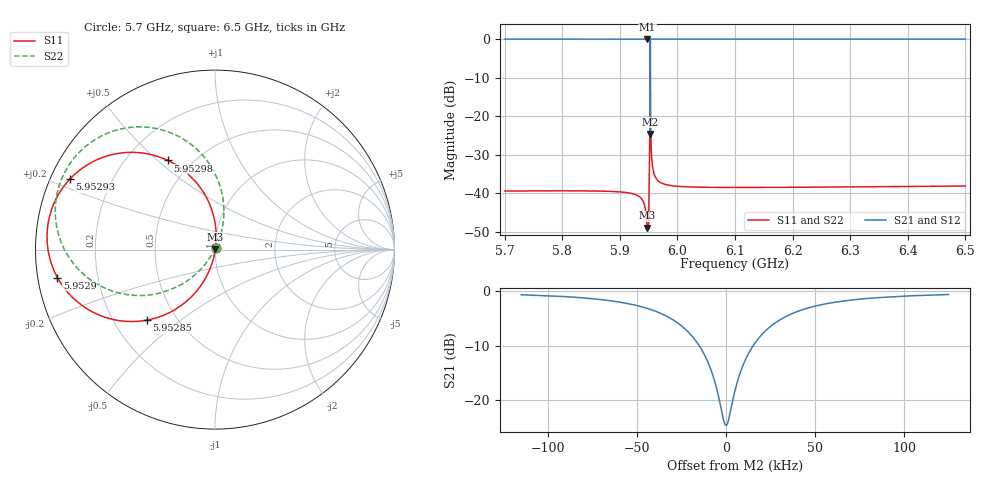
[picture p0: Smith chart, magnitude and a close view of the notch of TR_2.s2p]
! Sonnet Data File
! From: em Version : 14.52
! From Project: TR_2
! Data is De-embedded
! Data File Written: 01/08/2019 22:37:16
!< HDATE 01/08/2019 00:51:22
!< MDATE 01/08/2019 20:33:59
# GHZ S MA R 50.00000
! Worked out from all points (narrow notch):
!   1044 points, 5.7 GHz to 6.5 GHz, reference 50 ohm
!   highest |S21| = 0.00 dB at 5.9475 GHz (marker M1); lowest = -24.6 dB at 5.95291 GHz (marker M2)
!   notch at M2: 24.6 dB deep, 22.4 kHz wide at half that depth
!   lowest |S11| = -48.9 dB at 5.9475 GHz (marker M3), VSWR 1.01, Z = 50.2 + j0.292 ohm
!   |S11| at or under -10 dB: start of sweep to 5.95279 GHz; 5.95305 GHz to end of sweep
!   |S22| runs from -48.9 to -0.5 dB; largest |S21 - S12| = 0
!   S11 on the Smith chart (normalised r, x): 5.7 GHz: 1.01, +0.02; 5.95285 GHz: 0.34, -0.38; 5.9529 GHz: 0.06, -0.09; 5.95293 GHz: 0.06, +0.23; 5.95298 GHz: 0.37, +0.54; 6.5 GHz: 1.01, +0.02
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5.7  0.01069 74.2  0.9999 -16.4  0.9999 -16.4  0.01069 73.0
!< P1 F=5.7 Eeff=(5.67073457 -5.1701e-6) Z0=(51.6851264 2.35637e-5) R=0.01127159 C=0.00226057
!< P2 F=5.7 Eeff=(5.67073457 -5.1701e-6) Z0=(51.6851264 2.35637e-5) R=0.01127159 C=0.00226057
5.835  0.01074 73.7  0.9999 -16.8  0.9999 -16.8  0.01074 72.7
5.9225  0.009862 72.5  1 -17.1  1 -17.1  0.009862 73.3
5.9475  0.003581 54.3  1 -17.5  1 -17.5  0.003584 90.8
5.95008  0.004426 -77.1  1 -18.0  1 -18.0  0.004437 -139.2
5.95222  0.05123 -99.9  0.9984 -20.7  0.9984 -20.7  0.05125 -122.0
5.95268  0.1709 -108.6  0.9832 -27.6  0.9832 -27.6  0.1709 -128.0
5.95282  0.4024 -123.7  0.9038 -41.5  0.9038 -41.5  0.4025 -142.5
5.952852  0.5465 -134.0  0.814 -50.8  0.814 -50.8  0.5467 -152.6
5.9529  0.8914 -169.9  0.3242 -79.2  0.3242 -79.2  0.8916 171.7
5.952915  0.9412 171.4  0.05876 -17.2  0.05876 -17.2  0.9413 153.1
5.952929  0.8984 154.0  0.3045 44.3  0.3045 44.3  0.8986 135.7
5.952978  0.5622 117.9  0.8035 16.4  0.8035 16.4  0.5623 99.8
5.95316  0.1846 92.2  0.9809 -7.1  0.9809 -7.1  0.1846 74.8
5.9536  0.07435 84.6  0.997 -13.5  0.997 -13.5  0.07436 68.8
5.95538  0.02886 79.8  0.9996 -16.1  0.9996 -16.1  0.02886 68.1
5.9575  0.02075 78.1  0.9998 -16.6  0.9998 -16.6  0.02075 68.9
5.9675  0.01431 75.6  0.9999 -17.0  0.9999 -17.0  0.01431 70.5
6.1  0.01189 73.5  0.9999 -17.5  0.9999 -17.5  0.01189 71.5
6.235  0.012 73.0  0.9999 -17.9  0.9999 -17.9  0.012 71.2
6.3675  0.0122 72.6  0.9999 -18.3  0.9999 -18.3  0.0122 70.8
6.5  0.01242 72.3  0.9999 -18.7  0.9999 -18.7  0.01242 70.4
